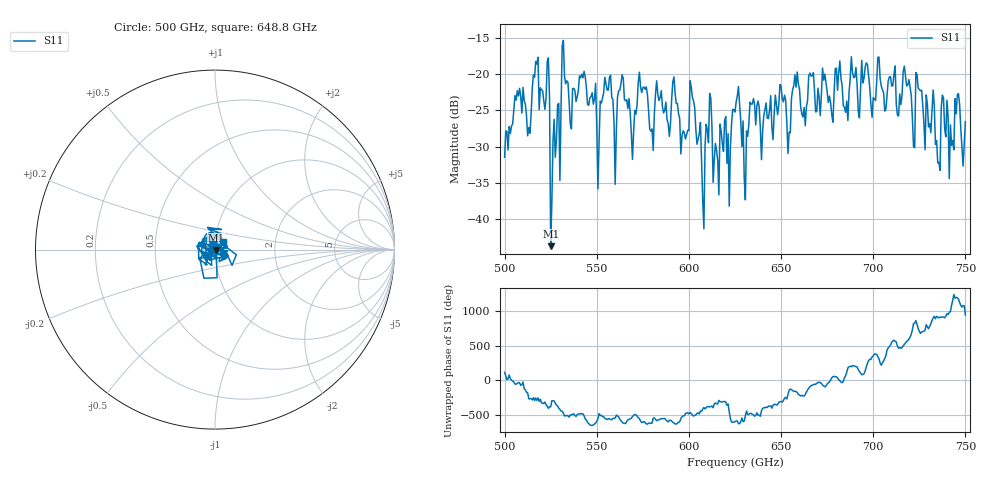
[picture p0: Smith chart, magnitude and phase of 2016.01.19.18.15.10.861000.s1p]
!Created with skrf (http://scikit-rf.org).
# GHz S RI R 50.0
!freq ReS11 ImS11
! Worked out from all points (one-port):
!   401 points, 500 GHz to 750 GHz, reference 50 ohm
!   lowest |S11| = -43.7 dB at 525 GHz (marker M1), VSWR 1.01, Z = 50.6 - j0.244 ohm
!   |S11| at or under -10 dB: start of sweep to end of sweep
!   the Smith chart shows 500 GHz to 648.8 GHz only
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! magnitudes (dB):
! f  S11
! 500 GHz  -31.5
! 506.9 GHz  -22.3
! 513.1 GHz  -27.4
! 516.9 GHz  -18.3
! 523.1 GHz  -18.2
! 525 GHz  -43.7
! 531.2 GHz  -16.1
! 542.5 GHz  -20.5
! 551.2 GHz  -29.3
! 562.5 GHz  -22.2
! 569.4 GHz  -31.7
! 573.8 GHz  -21.7
! 579.4 GHz  -27.9
! 593.8 GHz  -24.0
! 596.9 GHz  -27.8
! 601.9 GHz  -23.2
! 608.1 GHz  -41.3
! 610.6 GHz  -29.5
! 615 GHz  -30.5
! 625 GHz  -25.2
! 630 GHz  -34.3
! 634.4 GHz  -24.1
! 656.2 GHz  -22.2
! 687.5 GHz  -20.6
! 718.8 GHz  -21.5
! 735 GHz  -32.2
! 745.6 GHz  -22.8
! 750 GHz  -26.5
